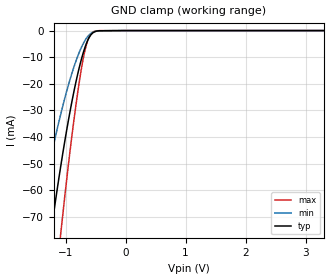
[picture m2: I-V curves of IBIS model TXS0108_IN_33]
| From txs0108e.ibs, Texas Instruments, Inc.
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[Model]   TXS0108_IN_33
Model_type  Input
Vinl=0.8
Vinh=2.0
| variable   typ   min   max
C_comp   2.89pF   2.49pF   3.27pF
[Temperature Range]   40   100   -40
| Ambient temperature   25   85   -40
[Voltage range]   3.3   3   3.6
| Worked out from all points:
|   GND clamp passes 1 mA (typ) near -0.55 V on its own axis
[GND Clamp]
| TXS0108_IN_33
|   Voltage   I(typ)   I(min)   I(max)
-5.5V     -1.044A    -792.1mA   -1.306A
-1.49V    -118.9mA   -76.29mA   -173.1mA
-1.245V   -76.29mA   -47.82mA   -113.4mA
-1.085V   -51.69mA   -31.86mA   -77.44mA
-1.065V   -48.84mA   -30.03mA   -73.19mA
-915mV    -29.19mA   -17.59mA   -43.4mA
-825mV    -19.14mA   -11.36mA   -27.72mA
-755mV    -12.42mA   -7.286mA   -16.96mA
-655mV    -4.993mA   -2.979mA   -5.528mA
-610mV    -2.74mA    -1.719mA   -2.558mA
-545mV    -866.7uA   -624.9uA   -578.5uA
3.3V      208.2pA    780.9pA    25.79pA
